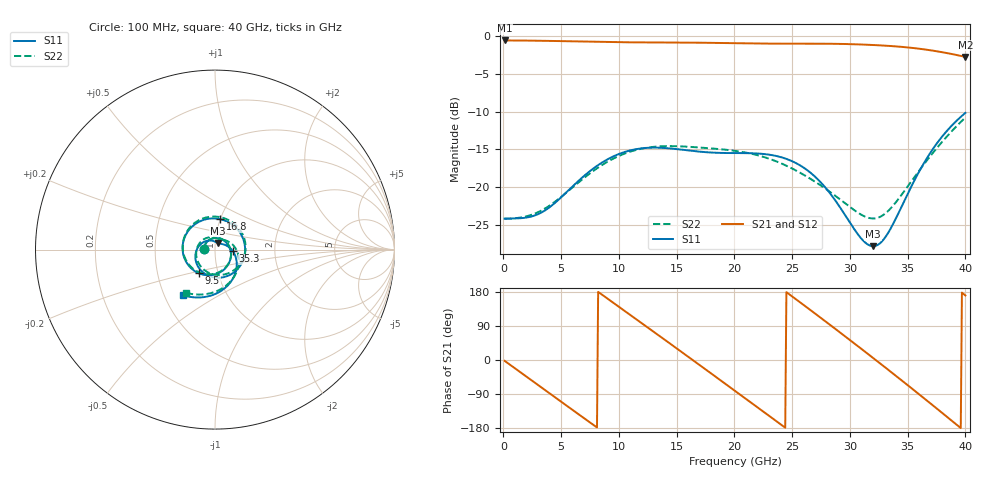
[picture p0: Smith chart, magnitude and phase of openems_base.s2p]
! A_s4_d200_ap1000: L1→L4 through L2/L3, drill Ø0.2, antipad Ø1, 4 GND vias at 1 mm
! stackup: 4-layer 1.6 mm FR-4
! ports: 1, 2
! openEMS 0.37.0, staircase, base mesh (dfine 0.035 mm), 519453 cells
# Hz S RI R 50
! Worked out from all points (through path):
!   400 points, 100 MHz to 40 GHz, reference 50 ohm
!   highest |S21| = -0.56 dB at 100 MHz (marker M1); lowest = -2.7 dB at 40 GHz (marker M2)
!   group delay of S21, straight-line fit = 62.7 ps
!   lowest |S11| = -27.9 dB at 32 GHz (marker M3), VSWR 1.08, Z = 51.5 + j3.84 ohm
!   |S11| at or under -10 dB: start of sweep to end of sweep
!   |S22| runs from -24.2 to -10.8 dB; largest |S21 - S12| = 0.012
!   S11 on the Smith chart (normalised r, x): 100 MHz: 0.88, +0.01; 9.5 GHz: 0.81, -0.22; 16.8 GHz: 1.00, +0.35; 35.3 GHz: 1.22, -0.02; 40 GHz: 0.62, -0.35
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1e8  -0.0616 0.00376  0.9374 -0.0361  0.9374 -0.0361  -0.0613 0.00382
1.7e9  -0.0307 0.0542  0.743 -0.5705  0.743 -0.5704  -0.0305 0.0553
3.6e9  0.046 0.0526  0.1718 -0.9169  0.1719 -0.9168  0.0461 0.0552
5.1e9  0.0867 -0.00575  -0.3532 -0.8584  -0.353 -0.8586  0.0872 -0.00177
6.8e9  0.0657 -0.0945  -0.7957 -0.4662  -0.7961 -0.4667  0.0671 -0.0896
9.5e9  -0.0887 -0.1324  -0.8022 0.4383  -0.803 0.4394  -0.0865 -0.1275
1.15e10  -0.175 -0.0338  -0.2758 0.8682  -0.2748 0.8694  -0.1738 -0.0288
1.34e10  -0.1585 0.09  0.371 0.8305  0.3723 0.83  -0.1588 0.0962
1.52e10  -0.0706 0.163  0.8149 0.4015  0.8149 0.4007  -0.0723 0.1716
1.68e10  0.0273 0.1699  0.895 -0.145  0.8946 -0.1448  0.0252 0.1814
1.86e10  0.1228 0.1152  0.5904 -0.6837  0.5915 -0.6831  0.1219 0.1306
2.01e10  0.1653 0.0292  0.1163 -0.8922  0.1183 -0.8934  0.167 0.047
2.18e10  0.1452 -0.0827  -0.4542 -0.7721  -0.4544 -0.7757  0.1508 -0.0643
2.37e10  0.0387 -0.1553  -0.854 -0.2617  -0.8584 -0.2633  0.0468 -0.1395
2.52e10  -0.0585 -0.1334  -0.855 0.2575  -0.8593 0.26  -0.0511 -0.1197
2.67e10  -0.1081 -0.0571  -0.5635 0.6931  -0.5644 0.6975  -0.1029 -0.0436
2.92e10  -0.0563 0.0453  0.2842 0.8433  0.2865 0.8457  -0.0537 0.0621
3.2e10  0.0157 0.0373  0.8711 0.0854  0.8748 0.0854  0.0194 0.0586
3.34e10  0.0404 0.0309  0.7638 -0.402  0.7674 -0.4038  0.0449 0.0542
3.53e10  0.0997 -0.00914  0.2363 -0.8049  0.239 -0.8095  0.1069 0.0182
3.8e10  0.0634 -0.2073  -0.5991 -0.5054  -0.6061 -0.5119  0.082 -0.1822
4e10  -0.1775 -0.2544  -0.719 0.1232  -0.7288 0.1293  -0.1598 -0.2412
